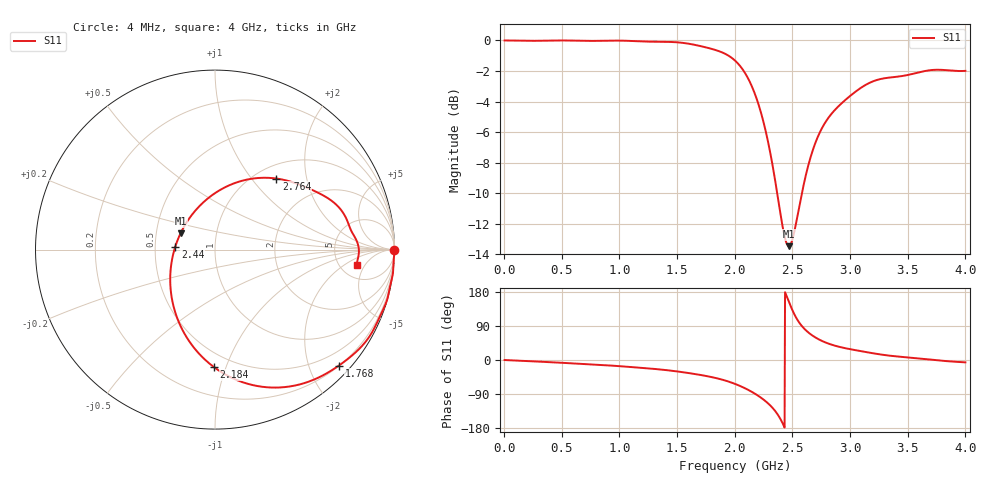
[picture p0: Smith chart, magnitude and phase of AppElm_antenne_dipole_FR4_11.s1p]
! TOUCHSTONE file generated by CST MICROWAVE STUDIO
! Date and time: Thu May 12 14:30:07 2022
! Project name: AppElm_antenne_dipole_FR4.cst
! Parameters = {L=38.8; e=0.035; f=2.45e+09; h=1.6; i=1; l1=4; lambda=122.449; ls=30; wl=1.7; ws=80}
! Header version: 2018
! Port assignment regex: !\s*Touchstone port\s*([0-9]+)\s*=\s*(CST MWS port|CST DS port)\s*([0-9]+|Zmin|Zmax)\s*\(\"(.*)\"\)(\s*mode\s*([0-9]+))?.*
! Touchstone port assignment:
! Touchstone port 1 = CST MWS port 1 ("")
# GHz S MA R 50
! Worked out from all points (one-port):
!   1000 points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, 4 MHz to 4 GHz, reference 50 ohm
!   lowest |S11| = -13.5 dB at 2.468 GHz (marker M1), VSWR 1.54, Z = 33.4 + j6.32 ohm
!   |S11| at or under -10 dB: 2.368 GHz to 2.582 GHz (214.1 MHz wide, 8.65 % of centre)
!   S11 on the Smith chart (normalised r, x): 4 MHz: open; 1.768 GHz: 0.21, -2.52; 2.184 GHz: 0.40, -0.91; 2.44 GHz: 0.64, +0.02; 2.764 GHz: 1.23, +1.34; 4 GHz: 7.17, -3.36
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0.004  1 -0.1
0.504  1 -7.4
1.004  0.9988 -16.3
1.308  0.9903 -23.7
1.504  0.9859 -30.3
1.636  0.9703 -36.1
1.768  0.9454 -43.1
1.896  0.912 -52.3
2.004  0.858 -63.3
2.1  0.7699 -76.3
2.144  0.7136 -83.4
2.184  0.6536 -90.6
2.256  0.5279 -106.0
2.32  0.4052 -123.8
2.38  0.2959 -147.5
2.44  0.2221 176.0
2.468  0.2122 154.8
2.504  0.2263 128.6
2.564  0.2921 96.6
2.624  0.3725 76.3
2.688  0.4503 61.6
2.764  0.5229 49.2
2.868  0.5923 37.8
3.004  0.6601 28.4
3.228  0.7415 16.3
3.504  0.7714 6.8
3.724  0.8011 0.4
4  0.7953 -6.2
